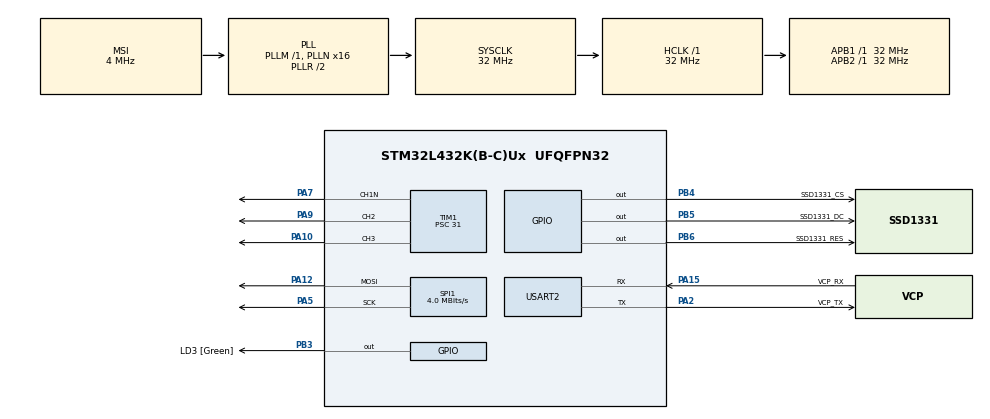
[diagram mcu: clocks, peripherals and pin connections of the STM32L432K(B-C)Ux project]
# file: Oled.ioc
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Mcu.Family=STM32L4
Mcu.Name=STM32L432K(B-C)Ux
Mcu.Package=UFQFPN32
NVIC.PriorityGroup=NVIC_PRIORITYGROUP_4
PA0.GPIO_Label=MCO [High speed clock in]
PA0.Mode=HSE-External-Clock-Source-for-LittleOrca
PA0.Signal=RCC_CK_IN
PA10.Signal=S_TIM1_CH3
PA12.Mode=TX_Only_Simplex_Unidirect_Master
PA12.Signal=SPI1_MOSI
PA13\ (JTMS-SWDIO).GPIO_Label=SWDIO
PA13\ (JTMS-SWDIO).Mode=Serial_Wire
PA13\ (JTMS-SWDIO).Signal=SYS_JTMS-SWDIO
PA14\ (JTCK-SWCLK).GPIO_Label=SWCLK
PA14\ (JTCK-SWCLK).Mode=Serial_Wire
PA14\ (JTCK-SWCLK).Signal=SYS_JTCK-SWCLK
PA15\ (JTDI).GPIO_Label=VCP_RX
PA15\ (JTDI).Mode=Asynchronous
PA15\ (JTDI).Signal=USART2_RX
PA2.GPIO_Label=VCP_TX
PA2.Mode=Asynchronous
PA2.Signal=USART2_TX
PA5.Mode=TX_Only_Simplex_Unidirect_Master
PA5.Signal=SPI1_SCK
PA7.Mode=PWM Generation1 CH1N
PA7.Signal=TIM1_CH1N
PA9.Signal=S_TIM1_CH2
PB3\ (JTDO-TRACESWO).GPIO_Label=LD3 [Green]
PB3\ (JTDO-TRACESWO).Signal=GPIO_Output
PB4\ (NJTRST).GPIO_Label=SSD1331_CS
PB4\ (NJTRST).Signal=GPIO_Output
PB5.GPIO_Label=SSD1331_DC
PB5.Signal=GPIO_Output
PB6.GPIO_Label=SSD1331_RES
PB6.Signal=GPIO_Output
PC14-OSC32_IN\ (PC14).Mode=LSE-External-Oscillator
PC14-OSC32_IN\ (PC14).Signal=RCC_OSC32_IN
PC15-OSC32_OUT\ (PC15).Mode=LSE-External-Oscillator
PC15-OSC32_OUT\ (PC15).Signal=RCC_OSC32_OUT
ProjectManager.HeapSize=0x200
ProjectManager.StackSize=0x400
ProjectManager.TargetToolchain=STM32CubeIDE
RCC.AHBFreq_Value=32000000
RCC.APB1Freq_Value=32000000
RCC.APB1TimFreq_Value=32000000
RCC.APB2Freq_Value=32000000
RCC.APB2TimFreq_Value=32000000
RCC.CortexFreq_Value=32000000
RCC.HCLKFreq_Value=32000000
RCC.HSE_VALUE=8000000
RCC.HSI16_VALUE=16000000
RCC.HSI48_VALUE=48000000
RCC.HSI_VALUE=16000000
RCC.MSI_VALUE=4000000
RCC.PLLMUL=RCC_PLLMUL_4
RCC.PLLN=16
RCC.SYSCLKFreq_VALUE=32000000
RCC.SYSCLKSource=RCC_SYSCLKSOURCE_PLLCLK
RCC.VCOOutputFreq_Value=64000000
SH.S_TIM1_CH2.0=TIM1_CH2,PWM Generation2 CH2
SH.S_TIM1_CH3.0=TIM1_CH3,PWM Generation3 CH3
SPI1.BaudRatePrescaler=SPI_BAUDRATEPRESCALER_8
SPI1.CalculateBaudRate=4.0 MBits/s
SPI1.DataSize=SPI_DATASIZE_8BIT
SPI1.Direction=SPI_DIRECTION_2LINES
SPI1.Mode=SPI_MODE_MASTER
SPI1.VirtualType=VM_MASTER
TIM1.Channel-PWM\ Generation1\ CH1N=TIM_CHANNEL_1
TIM1.Channel-PWM\ Generation2\ CH2=TIM_CHANNEL_2
TIM1.Channel-PWM\ Generation3\ CH3=TIM_CHANNEL_3
TIM1.Prescaler=31
TIM1.Pulse-PWM\ Generation1\ CH1N=100
TIM1.Pulse-PWM\ Generation2\ CH2=120
TIM1.Pulse-PWM\ Generation3\ CH3=130
USART2.VirtualMode-Asynchronous=VM_ASYNC
VP_TIM1_VS_ClockSourceINT.Mode=Internal
board=NUCLEO-L432KC

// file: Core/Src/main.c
/* USER CODE BEGIN Header */
/**
  ******************************************************************************
  * @file           : main.c
  * @brief          : Main program body
  ******************************************************************************
  * @attention
  *
  * Copyright (c) 2022 STMicroelectronics.
  * All rights reserved.
  *
  * This software is licensed under terms that can be found in the LICENSE file
  * in the root directory of this software component.
  * If no LICENSE file comes with this software, it is provided AS-IS.
  *
  ******************************************************************************
  */
/* USER CODE END Header */
#include "main.h"

/* USER CODE BEGIN Includes */
#include "ssd1331.h"
#include "logo.h"
/* USER CODE END Includes */

/* USER CODE BEGIN PTD */

typedef enum
{
	CHANNEL1 = 0,
	CHANNEL2,
	CHANNEL3,
	CHANNEL_MAX
}eChannelNum;
/* USER CODE END PTD */

SPI_HandleTypeDef hspi1;

TIM_HandleTypeDef htim1;

UART_HandleTypeDef huart2;

void SystemClock_Config(void);
static void MX_GPIO_Init(void);
static void MX_USART2_UART_Init(void);
static void MX_SPI1_Init(void);
static void MX_TIM1_Init(void);
/* USER CODE BEGIN PFP */

/*
 * Function 	: setPwmDutyCycle
 *
 * Description  : This function sets the duty cycle for timer 1's
 *				 whatever channel number is passed.
 *
 * Arguments    :
 *
 * timer_channel_num (input) : Pass here the channel number
 * 							   Example : TIM_CHANNEL_1, TIM_CHANNEL_2 or TIM_CHANNEL_3
 *
 * percentage (input) 		 : Pass here the duty cycle percentage (0-100)
 *
 */
int setPwmDutyCycle(uint32_t timer_channel_num, uint16_t percentage)
{
	if(percentage < 0 || percentage > 100)
	{
		return -1;
	}
	__HAL_TIM_SET_COMPARE(&htim1, timer_channel_num, percentage);
}
/* USER CODE END PFP */

int main(void)
{

  /* MCU Configuration--------------------------------------------------------*/

  /* Reset of all peripherals, Initializes the Flash interface and the Systick. */
  HAL_Init();

  /* Configure the system clock */
  SystemClock_Config();

  /* Initialize all configured peripherals */
  MX_GPIO_Init();
  MX_USART2_UART_Init();
  MX_SPI1_Init();
  MX_TIM1_Init();
  /* USER CODE BEGIN 2 */

  ssd1331_init();
  ssd1331_clear_screen(BLACK);
  //  ssd1331_draw_line(1, 1, 10, 10, RED);
  //  ssd1331_display_num(10, 10, 10, 2, FONT_1608, RED);
  //  ssd1331_display_char(20, 20, 'A', FONT_1608, RED);
//  ssd1331_draw_rect(0, 0, 90, 60, GREEN);

  // ssd1331_draw_bitmap(10, 10, ohm, 20, 20, RED);
  // ssd1331_draw_bitmap(10, 10, heart, 30, 30, RED);
  // ssd1331_draw_bitmap(10, 10, heart_inverted, 30, 30, RED);

  /*
   * Note : for the n channels HAL_TIMEx_PWMN_Start() is used
   * for normal channels HAL_TIM_PWM_Start
   */
  HAL_TIMEx_PWMN_Start(&htim1, TIM_CHANNEL_1);
  HAL_TIM_PWM_Start(&htim1, TIM_CHANNEL_2);
  HAL_TIM_PWM_Start(&htim1, TIM_CHANNEL_3);
  int dutyCycle = 100;

  eChannelNum channelNum = CHANNEL1;
  /* USER CODE END 2 */

  /* Infinite loop */
  /* USER CODE BEGIN WHILE */
  while (1)
  {
	  switch(channelNum)
	  {
		  case CHANNEL1:
			setPwmDutyCycle(TIM_CHANNEL_1, dutyCycle);
		//	printf("Generating shades of Red\r\n");
			break;

		  case CHANNEL2:
			setPwmDutyCycle(TIM_CHANNEL_2, dutyCycle);
		//	printf("Generating shades of Green\r\n");
			break;

		  case CHANNEL3:
			setPwmDutyCycle(TIM_CHANNEL_3, dutyCycle);
		//	printf("Generating shades of Blue\r\n");
			break;

		  case CHANNEL_MAX:
		  default:
    		printf("Incorrect channel selected\r\n");
	  }
	  dutyCycle -= 10;
	  HAL_Delay(500);

	  if(dutyCycle < 0) // above the limit now
	  {
		  channelNum += 1;
		  if(channelNum == CHANNEL_MAX)
		  {
			  channelNum = CHANNEL1;
		  }
		  dutyCycle = 100;
		  HAL_Delay(1000);
	  }

  }
}

void SystemClock_Config(void)
{
  RCC_OscInitTypeDef RCC_OscInitStruct = {0};
  RCC_ClkInitTypeDef RCC_ClkInitStruct = {0};

  /** Configure the main internal regulator output voltage
  */
  if (HAL_PWREx_ControlVoltageScaling(PWR_REGULATOR_VOLTAGE_SCALE1) != HAL_OK)
  {
    Error_Handler();
  }

  /** Configure LSE Drive Capability
  */
  HAL_PWR_EnableBkUpAccess();
  __HAL_RCC_LSEDRIVE_CONFIG(RCC_LSEDRIVE_LOW);

  /** Initializes the RCC Oscillators according to the specified parameters
  * in the RCC_OscInitTypeDef structure.
  */
  RCC_OscInitStruct.OscillatorType = RCC_OSCILLATORTYPE_LSE|RCC_OSCILLATORTYPE_MSI;
  RCC_OscInitStruct.LSEState = RCC_LSE_ON;
  RCC_OscInitStruct.MSIState = RCC_MSI_ON;
  RCC_OscInitStruct.MSICalibrationValue = 0;
  RCC_OscInitStruct.MSIClockRange = RCC_MSIRANGE_6;
  RCC_OscInitStruct.PLL.PLLState = RCC_PLL_ON;
  RCC_OscInitStruct.PLL.PLLSource = RCC_PLLSOURCE_MSI;
  RCC_OscInitStruct.PLL.PLLM = 1;
  RCC_OscInitStruct.PLL.PLLN = 16;
  RCC_OscInitStruct.PLL.PLLP = RCC_PLLP_DIV7;
  RCC_OscInitStruct.PLL.PLLQ = RCC_PLLQ_DIV2;
  RCC_OscInitStruct.PLL.PLLR = RCC_PLLR_DIV2;
  if (HAL_RCC_OscConfig(&RCC_OscInitStruct) != HAL_OK)
  {
    Error_Handler();
  }

  /** Initializes the CPU, AHB and APB buses clocks
  */
  RCC_ClkInitStruct.ClockType = RCC_CLOCKTYPE_HCLK|RCC_CLOCKTYPE_SYSCLK
                              |RCC_CLOCKTYPE_PCLK1|RCC_CLOCKTYPE_PCLK2;
  RCC_ClkInitStruct.SYSCLKSource = RCC_SYSCLKSOURCE_PLLCLK;
  RCC_ClkInitStruct.AHBCLKDivider = RCC_SYSCLK_DIV1;
  RCC_ClkInitStruct.APB1CLKDivider = RCC_HCLK_DIV1;
  RCC_ClkInitStruct.APB2CLKDivider = RCC_HCLK_DIV1;

  if (HAL_RCC_ClockConfig(&RCC_ClkInitStruct, FLASH_LATENCY_1) != HAL_OK)
  {
    Error_Handler();
  }

  /** Enable MSI Auto calibration
  */
  HAL_RCCEx_EnableMSIPLLMode();
}

static void MX_SPI1_Init(void)
{

  /* SPI1 parameter configuration*/
  hspi1.Instance = SPI1;
  hspi1.Init.Mode = SPI_MODE_MASTER;
  hspi1.Init.Direction = SPI_DIRECTION_2LINES;
  hspi1.Init.DataSize = SPI_DATASIZE_8BIT;
  hspi1.Init.CLKPolarity = SPI_POLARITY_LOW;
  hspi1.Init.CLKPhase = SPI_PHASE_1EDGE;
  hspi1.Init.NSS = SPI_NSS_SOFT;
  hspi1.Init.BaudRatePrescaler = SPI_BAUDRATEPRESCALER_8;
  hspi1.Init.FirstBit = SPI_FIRSTBIT_MSB;
  hspi1.Init.TIMode = SPI_TIMODE_DISABLE;
  hspi1.Init.CRCCalculation = SPI_CRCCALCULATION_DISABLE;
  hspi1.Init.CRCPolynomial = 7;
  hspi1.Init.CRCLength = SPI_CRC_LENGTH_DATASIZE;
  hspi1.Init.NSSPMode = SPI_NSS_PULSE_ENABLE;
  if (HAL_SPI_Init(&hspi1) != HAL_OK)
  {
    Error_Handler();
  }

}

static void MX_TIM1_Init(void)
{

  TIM_ClockConfigTypeDef sClockSourceConfig = {0};
  TIM_MasterConfigTypeDef sMasterConfig = {0};
  TIM_OC_InitTypeDef sConfigOC = {0};
  TIM_BreakDeadTimeConfigTypeDef sBreakDeadTimeConfig = {0};

  htim1.Instance = TIM1;
  htim1.Init.Prescaler = 31;
  htim1.Init.CounterMode = TIM_COUNTERMODE_UP;
  htim1.Init.Period = 100;
  htim1.Init.ClockDivision = TIM_CLOCKDIVISION_DIV1;
  htim1.Init.RepetitionCounter = 0;
  htim1.Init.AutoReloadPreload = TIM_AUTORELOAD_PRELOAD_DISABLE;
  if (HAL_TIM_Base_Init(&htim1) != HAL_OK)
  {
    Error_Handler();
  }
  sClockSourceConfig.ClockSource = TIM_CLOCKSOURCE_INTERNAL;
  if (HAL_TIM_ConfigClockSource(&htim1, &sClockSourceConfig) != HAL_OK)
  {
    Error_Handler();
  }
  if (HAL_TIM_PWM_Init(&htim1) != HAL_OK)
  {
    Error_Handler();
  }
  sMasterConfig.MasterOutputTrigger = TIM_TRGO_RESET;
  sMasterConfig.MasterOutputTrigger2 = TIM_TRGO2_RESET;
  sMasterConfig.MasterSlaveMode = TIM_MASTERSLAVEMODE_DISABLE;
  if (HAL_TIMEx_MasterConfigSynchronization(&htim1, &sMasterConfig) != HAL_OK)
  {
    Error_Handler();
  }
  sConfigOC.OCMode = TIM_OCMODE_PWM1;
  sConfigOC.Pulse = 0;
  sConfigOC.OCPolarity = TIM_OCPOLARITY_HIGH;
  sConfigOC.OCNPolarity = TIM_OCNPOLARITY_HIGH;
  sConfigOC.OCFastMode = TIM_OCFAST_DISABLE;
  sConfigOC.OCIdleState = TIM_OCIDLESTATE_RESET;
  sConfigOC.OCNIdleState = TIM_OCNIDLESTATE_RESET;
  if (HAL_TIM_PWM_ConfigChannel(&htim1, &sConfigOC, TIM_CHANNEL_1) != HAL_OK)
  {
    Error_Handler();
  }
  sConfigOC.Pulse = 0;
  if (HAL_TIM_PWM_ConfigChannel(&htim1, &sConfigOC, TIM_CHANNEL_2) != HAL_OK)
  {
    Error_Handler();
  }
  sConfigOC.Pulse = 0;
  if (HAL_TIM_PWM_ConfigChannel(&htim1, &sConfigOC, TIM_CHANNEL_3) != HAL_OK)
  {
    Error_Handler();
  }
  sBreakDeadTimeConfig.OffStateRunMode = TIM_OSSR_DISABLE;
  sBreakDeadTimeConfig.OffStateIDLEMode = TIM_OSSI_DISABLE;
  sBreakDeadTimeConfig.LockLevel = TIM_LOCKLEVEL_OFF;
  sBreakDeadTimeConfig.DeadTime = 0;
  sBreakDeadTimeConfig.BreakState = TIM_BREAK_DISABLE;
  sBreakDeadTimeConfig.BreakPolarity = TIM_BREAKPOLARITY_HIGH;
  sBreakDeadTimeConfig.BreakFilter = 0;
  sBreakDeadTimeConfig.Break2State = TIM_BREAK2_DISABLE;
  sBreakDeadTimeConfig.Break2Polarity = TIM_BREAK2POLARITY_HIGH;
  sBreakDeadTimeConfig.Break2Filter = 0;
  sBreakDeadTimeConfig.AutomaticOutput = TIM_AUTOMATICOUTPUT_DISABLE;
  if (HAL_TIMEx_ConfigBreakDeadTime(&htim1, &sBreakDeadTimeConfig) != HAL_OK)
  {
    Error_Handler();
  }
  HAL_TIM_MspPostInit(&htim1);

}

static void MX_USART2_UART_Init(void)
{

  huart2.Instance = USART2;
  huart2.Init.BaudRate = 115200;
  huart2.Init.WordLength = UART_WORDLENGTH_8B;
  huart2.Init.StopBits = UART_STOPBITS_1;
  huart2.Init.Parity = UART_PARITY_NONE;
  huart2.Init.Mode = UART_MODE_TX_RX;
  huart2.Init.HwFlowCtl = UART_HWCONTROL_NONE;
  huart2.Init.OverSampling = UART_OVERSAMPLING_16;
  huart2.Init.OneBitSampling = UART_ONE_BIT_SAMPLE_DISABLE;
  huart2.AdvancedInit.AdvFeatureInit = UART_ADVFEATURE_NO_INIT;
  if (HAL_UART_Init(&huart2) != HAL_OK)
  {
    Error_Handler();
  }

}

static void MX_GPIO_Init(void)
{
  GPIO_InitTypeDef GPIO_InitStruct = {0};

  /* GPIO Ports Clock Enable */
  __HAL_RCC_GPIOC_CLK_ENABLE();
  __HAL_RCC_GPIOA_CLK_ENABLE();
  __HAL_RCC_GPIOB_CLK_ENABLE();

  /*Configure GPIO pin Output Level */
  HAL_GPIO_WritePin(GPIOB, LD3_Pin|SSD1331_CS_Pin|SSD1331_DC_Pin|SSD1331_RES_Pin, GPIO_PIN_RESET);

  /*Configure GPIO pins : LD3_Pin SSD1331_CS_Pin SSD1331_DC_Pin SSD1331_RES_Pin */
  GPIO_InitStruct.Pin = LD3_Pin|SSD1331_CS_Pin|SSD1331_DC_Pin|SSD1331_RES_Pin;
  GPIO_InitStruct.Mode = GPIO_MODE_OUTPUT_PP;
  GPIO_InitStruct.Pull = GPIO_NOPULL;
  GPIO_InitStruct.Speed = GPIO_SPEED_FREQ_LOW;
  HAL_GPIO_Init(GPIOB, &GPIO_InitStruct);

}

void Error_Handler(void)
{
  __disable_irq();
  while (1)
  {
  }
}
